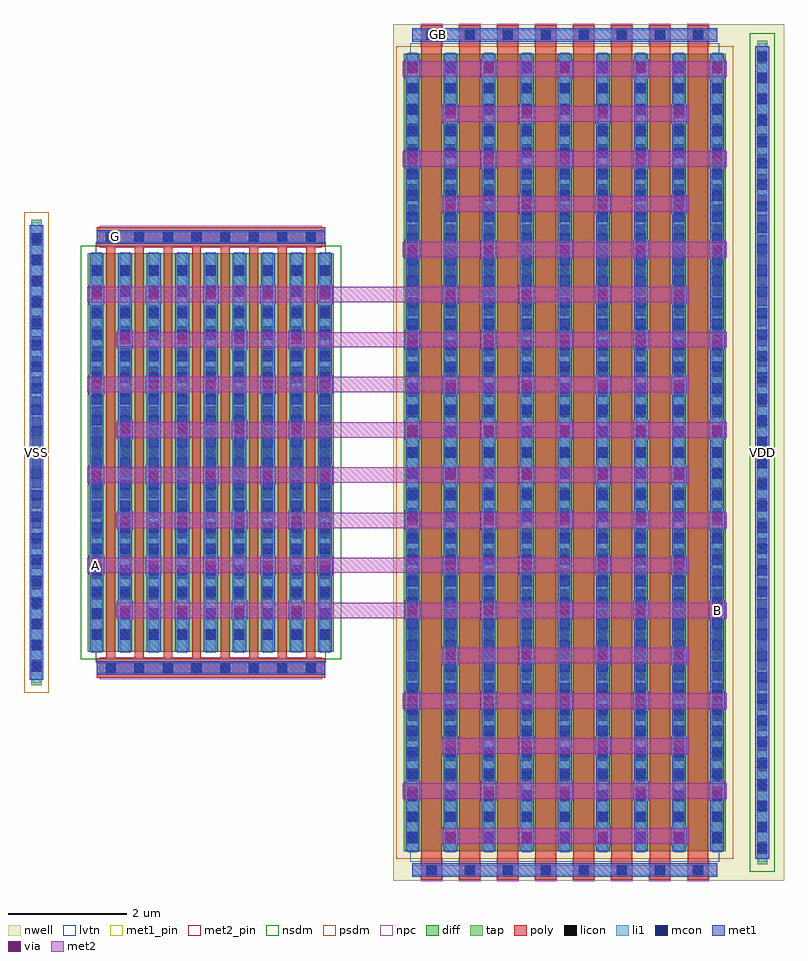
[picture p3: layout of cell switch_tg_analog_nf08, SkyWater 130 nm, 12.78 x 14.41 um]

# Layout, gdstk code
import gdstk
lib = gdstk.Library(unit=1e-6, precision=1e-09)
def R(c, l, rs):  # rectangles x0, y0, x1, y1
    for r in rs: c.add(gdstk.rectangle(r[:2], r[2:], *l))
def A(c, l, x, y, w, h, nx, ny, dx, dy):  # array of equal rectangles
    R(c, l, [(x+i*dx, y+j*dy, x+i*dx+w, y+j*dy+h) for i in range(nx) for j in range(ny)])
nwell = (64, 20)
diff = (65, 20)
tap = (65, 44)
poly = (66, 20)
licon = (66, 44)
li1 = (67, 20)
mcon = (67, 44)
met1_pin = (68, 16)
met1 = (68, 20)
via = (68, 44)
met2_pin = (69, 16)
met2 = (69, 20)
nsdm = (93, 44)
psdm = (94, 20)
npc = (95, 20)
lvtn = (125, 44)

sky130_fd_pr__pfet_01v8_ = lib.new_cell('sky130_fd_pr__pfet_01v8_lvt_WSKN45')
R(sky130_fd_pr__pfet_01v8_, nwell, [(-2.885,-7.2,2.885,7.2)])
R(sky130_fd_pr__pfet_01v8_, diff, [(-2.705,-6.7,2.705,6.7)])
A(sky130_fd_pr__pfet_01v8_, poly, -2.415, -7.185, 0.35, 14.37, 8, 1, 0.64, 0)
A(sky130_fd_pr__pfet_01v8_, licon, -2.325, -7.105, 0.17, 0.17, 8, 2, 0.64, 14.04)
A(sky130_fd_pr__pfet_01v8_, licon, -2.645, -6.545, 0.17, 0.17, 9, 39, 0.64, 0.34)
A(sky130_fd_pr__pfet_01v8_, li1, -2.645, -6.72, 0.17, 13.44, 9, 1, 0.64, 0)
R(sky130_fd_pr__pfet_01v8_, li1, [(-2.56,-7.105,2.56,-6.935), (-2.56,6.935,2.56,7.105)])
A(sky130_fd_pr__pfet_01v8_, mcon, -2.325, -7.105, 0.17, 0.17, 8, 2, 0.64, 14.04)
A(sky130_fd_pr__pfet_01v8_, mcon, -2.645, -6.565, 0.17, 0.17, 9, 37, 0.64, 0.36)
A(sky130_fd_pr__pfet_01v8_, met1, -2.395, -7.135, 0.31, 0.03, 8, 2, 0.64, 0.2)
A(sky130_fd_pr__pfet_01v8_, met1, -2.675, -6.7, 0.23, 13.4, 9, 1, 0.64, 0)
A(sky130_fd_pr__pfet_01v8_, met1, -2.395, 6.905, 0.31, 0.03, 8, 2, 0.64, 0.2)
R(sky130_fd_pr__pfet_01v8_, met1, [(-2.56,-7.105,2.56,-6.935), (-2.56,6.935,2.56,7.105)])
R(sky130_fd_pr__pfet_01v8_, psdm, [(-2.83,-6.825,2.83,6.825)])
A(sky130_fd_pr__pfet_01v8_, npc, -2.425, -7.205, 0.37, 0.37, 8, 2, 0.64, 14.04)
R(sky130_fd_pr__pfet_01v8_, lvtn, [(-2.595,-6.88,2.595,6.88)])
sky130_fd_pr__pfet_01v8_.add(gdstk.Label('D0', (-2.56,0), layer=67, texttype=5))
sky130_fd_pr__pfet_01v8_.add(gdstk.Label('G', (2.24,7.02), layer=67, texttype=5))
sky130_fd_pr__pfet_01v8_.add(gdstk.Label('G', (1.6,7.02), layer=67, texttype=5))
sky130_fd_pr__pfet_01v8_.add(gdstk.Label('G', (0.96,7.02), layer=67, texttype=5))
sky130_fd_pr__pfet_01v8_.add(gdstk.Label('G', (0.32,7.02), layer=67, texttype=5))
sky130_fd_pr__pfet_01v8_.add(gdstk.Label('G', (-0.32,7.02), layer=67, texttype=5))
sky130_fd_pr__pfet_01v8_.add(gdstk.Label('G', (-0.96,7.02), layer=67, texttype=5))
sky130_fd_pr__pfet_01v8_.add(gdstk.Label('G', (-1.6,7.02), layer=67, texttype=5))
sky130_fd_pr__pfet_01v8_.add(gdstk.Label('G', (-2.24,7.02), layer=67, texttype=5))
sky130_fd_pr__pfet_01v8_.add(gdstk.Label('S1', (-1.92,0), layer=67, texttype=5))
sky130_fd_pr__pfet_01v8_.add(gdstk.Label('D2', (-1.28,0), layer=67, texttype=5))
sky130_fd_pr__pfet_01v8_.add(gdstk.Label('S3', (-0.64,0), layer=67, texttype=5))
sky130_fd_pr__pfet_01v8_.add(gdstk.Label('D4', (0,0), layer=67, texttype=5))
sky130_fd_pr__pfet_01v8_.add(gdstk.Label('S5', (0.64,0), layer=67, texttype=5))
sky130_fd_pr__pfet_01v8_.add(gdstk.Label('D6', (1.28,0), layer=67, texttype=5))
sky130_fd_pr__pfet_01v8_.add(gdstk.Label('S7', (1.92,0), layer=67, texttype=5))

sky130_fd_pr__nfet_01v8_ = lib.new_cell('sky130_fd_pr__nfet_01v8_lvt_JVFSZP')
R(sky130_fd_pr__nfet_01v8_, diff, [(-2.065,-3.35,2.065,3.35)])
A(sky130_fd_pr__nfet_01v8_, poly, -1.755, -3.46, 0.15, 6.92, 8, 1, 0.48, 0)
R(sky130_fd_pr__nfet_01v8_, poly, [(-1.92,-3.79,1.92,-3.46), (-1.92,3.46,1.92,3.79)])
A(sky130_fd_pr__nfet_01v8_, licon, -1.765, -3.71, 0.17, 0.17, 8, 2, 0.48, 7.25)
A(sky130_fd_pr__nfet_01v8_, licon, -2.005, -3.145, 0.17, 0.17, 9, 19, 0.48, 0.34)
A(sky130_fd_pr__nfet_01v8_, li1, -2.005, -3.37, 0.17, 6.74, 9, 1, 0.48, 0)
R(sky130_fd_pr__nfet_01v8_, li1, [(-1.92,-3.71,1.92,-3.54), (-1.92,3.54,1.92,3.71)])
A(sky130_fd_pr__nfet_01v8_, mcon, -1.765, -3.71, 0.17, 0.17, 8, 2, 0.48, 7.25)
A(sky130_fd_pr__nfet_01v8_, mcon, -2.005, -3.145, 0.17, 0.17, 9, 18, 0.48, 0.36)
A(sky130_fd_pr__nfet_01v8_, met1, -1.825, -3.74, 0.29, 0.03, 8, 2, 0.48, 0.2)
A(sky130_fd_pr__nfet_01v8_, met1, -2.035, -3.35, 0.23, 6.7, 9, 1, 0.48, 0)
A(sky130_fd_pr__nfet_01v8_, met1, -1.825, 3.51, 0.29, 0.03, 8, 2, 0.48, 0.2)
R(sky130_fd_pr__nfet_01v8_, met1, [(-1.92,-3.71,1.92,-3.54), (-1.92,3.54,1.92,3.71)])
R(sky130_fd_pr__nfet_01v8_, nsdm, [(-2.19,-3.475,2.19,3.475)])
R(sky130_fd_pr__nfet_01v8_, npc, [(-1.865,-3.81,1.865,-3.44), (-1.865,3.44,1.865,3.81)])
R(sky130_fd_pr__nfet_01v8_, lvtn, [(-1.935,-3.53,1.935,3.53)])
sky130_fd_pr__nfet_01v8_.add(gdstk.Label('D0', (-1.92,0), layer=67, texttype=5))
sky130_fd_pr__nfet_01v8_.add(gdstk.Label('G', (1.68,3.625), layer=67, texttype=5))
sky130_fd_pr__nfet_01v8_.add(gdstk.Label('G', (1.2,3.625), layer=67, texttype=5))
sky130_fd_pr__nfet_01v8_.add(gdstk.Label('G', (0.72,3.625), layer=67, texttype=5))
sky130_fd_pr__nfet_01v8_.add(gdstk.Label('G', (0.24,3.625), layer=67, texttype=5))
sky130_fd_pr__nfet_01v8_.add(gdstk.Label('G', (-0.24,3.625), layer=67, texttype=5))
sky130_fd_pr__nfet_01v8_.add(gdstk.Label('G', (-0.72,3.625), layer=67, texttype=5))
sky130_fd_pr__nfet_01v8_.add(gdstk.Label('G', (-1.2,3.625), layer=67, texttype=5))
sky130_fd_pr__nfet_01v8_.add(gdstk.Label('G', (-1.68,3.625), layer=67, texttype=5))
sky130_fd_pr__nfet_01v8_.add(gdstk.Label('S1', (-1.44,0), layer=67, texttype=5))
sky130_fd_pr__nfet_01v8_.add(gdstk.Label('D2', (-0.96,0), layer=67, texttype=5))
sky130_fd_pr__nfet_01v8_.add(gdstk.Label('S3', (-0.48,0), layer=67, texttype=5))
sky130_fd_pr__nfet_01v8_.add(gdstk.Label('D4', (0,0), layer=67, texttype=5))
sky130_fd_pr__nfet_01v8_.add(gdstk.Label('S5', (0.48,0), layer=67, texttype=5))
sky130_fd_pr__nfet_01v8_.add(gdstk.Label('D6', (0.96,0), layer=67, texttype=5))
sky130_fd_pr__nfet_01v8_.add(gdstk.Label('S7', (1.44,0), layer=67, texttype=5))

switch_tg_analog_nf08 = lib.new_cell('switch_tg_analog_nf08')
R(switch_tg_analog_nf08, nwell, [(6.33,-7.2,12.9,7.2)])
R(switch_tg_analog_nf08, tap, [(12.45,-6.92,12.62,6.92), (0.25,-3.91,0.42,3.91)])
A(switch_tg_analog_nf08, licon, 12.45, -6.715, 0.17, 0.17, 1, 40, 0, 0.34)
A(switch_tg_analog_nf08, licon, 0.25, -3.655, 0.17, 0.17, 1, 22, 0, 0.34)
R(switch_tg_analog_nf08, li1, [(12.45,-6.88,12.62,6.88), (0.25,-3.87,0.42,3.87)])
A(switch_tg_analog_nf08, mcon, 12.45, -6.745, 0.17, 0.17, 1, 38, 0, 0.36)
A(switch_tg_analog_nf08, mcon, 0.25, -3.685, 0.17, 0.17, 1, 21, 0, 0.36)
R(switch_tg_analog_nf08, met1_pin, [(0.22,-0.4,0.45,0.4), (12.42,-0.4,12.65,0.4), (1.345,3.51,1.98,3.74), (6.655,6.905,7.52,7.135)])
A(switch_tg_analog_nf08, met1, 7.165, -6.61, 0.26, 0.32, 4, 2, 1.28, 1.52)
A(switch_tg_analog_nf08, met1, 6.525, -5.85, 0.26, 0.32, 5, 2, 1.28, 1.515)
A(switch_tg_analog_nf08, met1, 7.165, -3.575, 0.26, 0.32, 4, 2, 1.28, 1.52)
A(switch_tg_analog_nf08, met1, 1.695, -2.815, 0.26, 0.32, 4, 2, 0.96, 1.515)
A(switch_tg_analog_nf08, met1, 6.525, -2.815, 0.26, 0.32, 5, 2, 1.28, 1.515)
A(switch_tg_analog_nf08, met1, 1.215, -2.055, 0.26, 0.32, 5, 2, 0.96, 1.515)
A(switch_tg_analog_nf08, met1, 7.165, -0.54, 0.26, 0.32, 4, 2, 1.28, 1.52)
A(switch_tg_analog_nf08, met1, 1.695, 0.22, 0.26, 0.32, 4, 2, 0.96, 1.515)
A(switch_tg_analog_nf08, met1, 6.525, 0.22, 0.26, 0.32, 5, 2, 1.28, 1.515)
A(switch_tg_analog_nf08, met1, 1.215, 0.98, 0.26, 0.32, 5, 2, 0.96, 1.515)
A(switch_tg_analog_nf08, met1, 7.165, 2.495, 0.26, 0.32, 4, 2, 1.28, 1.52)
A(switch_tg_analog_nf08, met1, 6.525, 3.255, 0.26, 0.32, 5, 2, 1.28, 1.515)
A(switch_tg_analog_nf08, met1, 7.165, 5.53, 0.26, 0.32, 4, 1, 1.28, 0)
A(switch_tg_analog_nf08, met1, 6.525, 6.29, 0.26, 0.32, 5, 1, 1.28, 0)
R(switch_tg_analog_nf08, met1, [(6.655,-7.135,11.775,-6.905), (12.42,-6.83,12.65,6.83), (0.22,-3.82,0.45,3.82), (1.345,-3.74,5.185,-3.51), (1.345,3.51,5.185,3.74), (6.655,6.905,11.775,7.135)])
A(switch_tg_analog_nf08, via, 7.22, -6.525, 0.15, 0.15, 4, 2, 1.28, 1.52)
A(switch_tg_analog_nf08, via, 6.58, -5.765, 0.15, 0.15, 5, 2, 1.28, 1.515)
A(switch_tg_analog_nf08, via, 7.22, -3.49, 0.15, 0.15, 4, 2, 1.28, 1.52)
A(switch_tg_analog_nf08, via, 1.75, -2.73, 0.15, 0.15, 4, 2, 0.96, 1.515)
A(switch_tg_analog_nf08, via, 6.58, -2.73, 0.15, 0.15, 5, 2, 1.28, 1.515)
A(switch_tg_analog_nf08, via, 1.27, -1.97, 0.15, 0.15, 5, 2, 0.96, 1.515)
A(switch_tg_analog_nf08, via, 7.22, -0.455, 0.15, 0.15, 4, 2, 1.28, 1.52)
A(switch_tg_analog_nf08, via, 1.75, 0.305, 0.15, 0.15, 4, 2, 0.96, 1.515)
A(switch_tg_analog_nf08, via, 6.58, 0.305, 0.15, 0.15, 5, 2, 1.28, 1.515)
A(switch_tg_analog_nf08, via, 1.27, 1.065, 0.15, 0.15, 5, 2, 0.96, 1.515)
A(switch_tg_analog_nf08, via, 7.22, 2.58, 0.15, 0.15, 4, 2, 1.28, 1.52)
A(switch_tg_analog_nf08, via, 6.58, 3.34, 0.15, 0.15, 5, 2, 1.28, 1.515)
A(switch_tg_analog_nf08, via, 7.22, 5.615, 0.15, 0.15, 4, 1, 1.28, 0)
A(switch_tg_analog_nf08, via, 6.58, 6.375, 0.15, 0.15, 5, 1, 1.28, 0)
R(switch_tg_analog_nf08, met2_pin, [(11.635,-2.785,11.935,-2.525), (1.185,-2.025,1.485,-1.765)])
R(switch_tg_analog_nf08, met2, [(7.135,-6.58,11.295,-6.32), (6.495,-5.82,11.935,-5.56), (7.135,-5.06,11.295,-4.8), (6.495,-4.305,11.935,-4.045), (7.135,-3.545,11.295,-3.285), (1.665,-2.785,11.935,-2.525), (1.185,-2.025,11.295,-1.765), (1.665,-1.27,11.935,-1.01), (1.185,-0.51,11.295,-0.25), (1.665,0.25,11.935,0.51), (1.185,1.01,11.295,1.27), (1.665,1.765,11.935,2.025), (1.185,2.525,11.295,2.785), (6.495,3.285,11.935,3.545), (7.135,4.045,11.295,4.305), (6.495,4.8,11.935,5.06), (7.135,5.56,11.295,5.82), (6.495,6.32,11.935,6.58)])
R(switch_tg_analog_nf08, nsdm, [(12.325,-7.045,12.745,7.045)])
R(switch_tg_analog_nf08, psdm, [(0.125,-4.035,0.545,4.035)])
switch_tg_analog_nf08.add(gdstk.Reference(sky130_fd_pr__pfet_01v8_, (9.215,0)))
switch_tg_analog_nf08.add(gdstk.Reference(sky130_fd_pr__nfet_01v8_, (3.265,0)))
switch_tg_analog_nf08.add(gdstk.Label('G', (1.662,3.625), layer=68, texttype=5))
switch_tg_analog_nf08.add(gdstk.Label('GB', (7.087,7.02), layer=68, texttype=5))
switch_tg_analog_nf08.add(gdstk.Label('VSS', (0.335,0), layer=68, texttype=5))
switch_tg_analog_nf08.add(gdstk.Label('VDD', (12.535,0), layer=68, texttype=5))
switch_tg_analog_nf08.add(gdstk.Label('A', (1.335,-1.895), layer=69, texttype=5))
switch_tg_analog_nf08.add(gdstk.Label('B', (11.785,-2.655), layer=69, texttype=5))

lib.write_gds('switch_tg_analog_nf08.gds')
